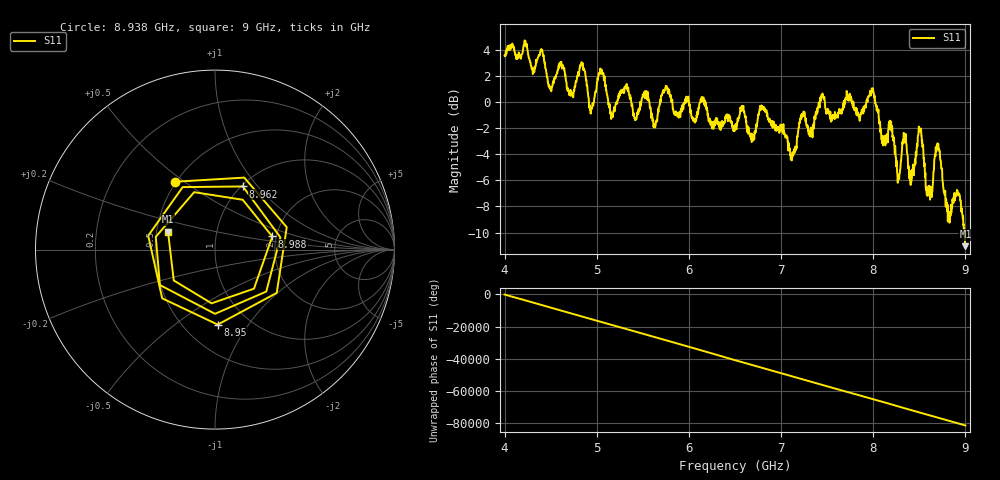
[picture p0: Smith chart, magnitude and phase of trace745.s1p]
! Created with skrf 1.8.0 (http://scikit-rf.org).
# Hz S RI R 50.0
!freq ReS11 ImS11
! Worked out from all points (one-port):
!   1601 points, 4 GHz to 9 GHz, reference 50 ohm
!   lowest |S11| = -11.0 dB at 9 GHz (marker M1), VSWR 1.78, Z = 28.7 + j6.28 ohm
!   |S11| at or under -10 dB: 8.989654 GHz to end of sweep
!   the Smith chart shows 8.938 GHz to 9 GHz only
!   S11 on the Smith chart (normalised r, x): 8.938 GHz: 0.49, +0.46; 8.95 GHz: 0.72, -0.73; 8.962 GHz: 1.02, +0.84; 8.988 GHz: 1.90, +0.31; 9 GHz: 0.57, +0.13
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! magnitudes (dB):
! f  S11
! 4 GHz  3.5
! 4.494 GHz  1.2
! 4.625 GHz  2.7
! 4.722 GHz  0.6
! 4.847 GHz  3.0
! 4.941 GHz  -0.5
! 5.044 GHz  2.5
! 5.159 GHz  -1.0
! 5.25 GHz  0.8
! 5.875 GHz  -1.1
! 6.5 GHz  -1.9
! 6.806 GHz  -0.6
! 7.125 GHz  -3.9
! 7.231 GHz  -1.0
! 7.75 GHz  0.2
! 7.991 GHz  0.8
! 8.269 GHz  -5.9
! 8.375 GHz  -4.2
! 8.425 GHz  -5.3
! 8.509 GHz  -2.2
! 8.594 GHz  -6.6
! 8.697 GHz  -3.2
! 8.812 GHz  -9.1
! 8.938 GHz  -7.1
! 8.95 GHz  -7.6
! 8.962 GHz  -8.3
! 8.988 GHz  -9.7
! 9 GHz  -11.0
